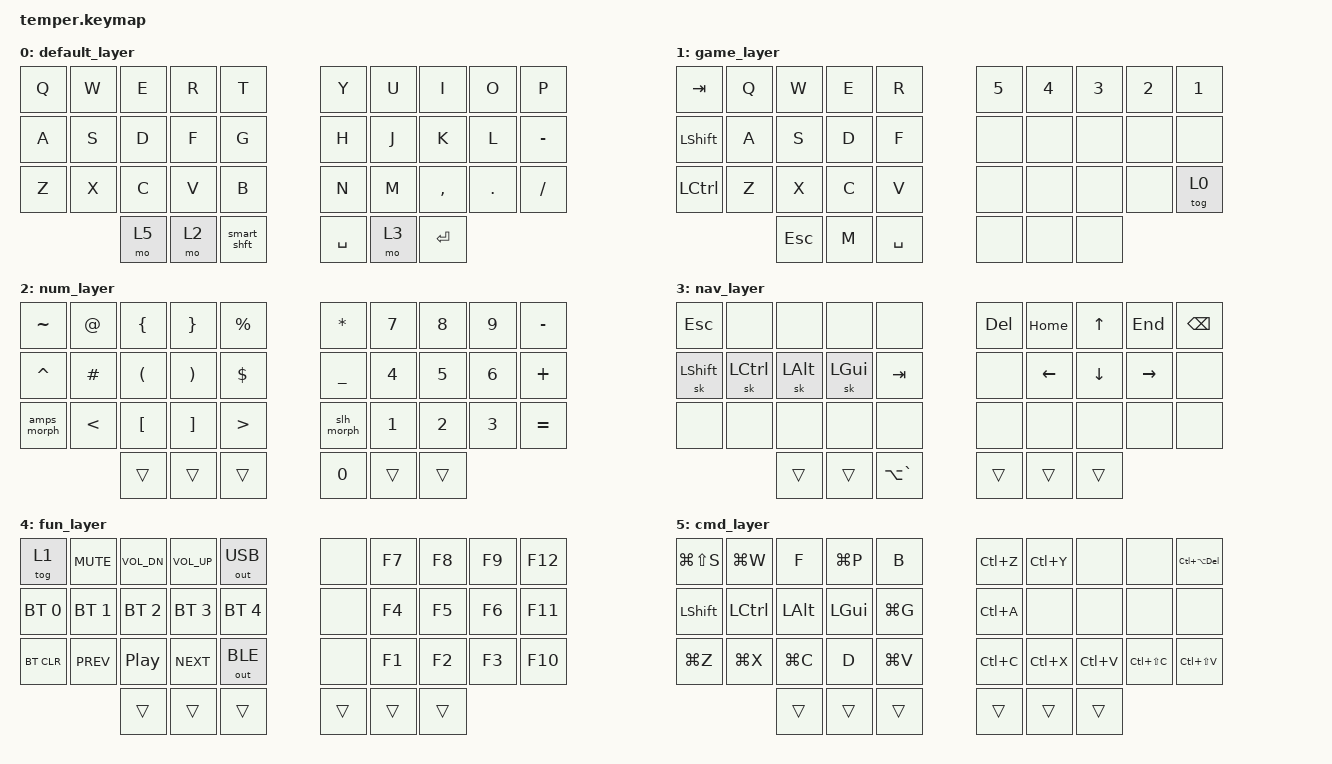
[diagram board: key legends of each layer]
/*
 * Copyright (c) 2020 The ZMK Contributors
 *
 * SPDX-License-Identifier: MIT
 */

#include <behaviors.dtsi>
#include <dt-bindings/zmk/bt.h>
#include <dt-bindings/zmk/keys.h>
#include <dt-bindings/zmk/outputs.h>

/ {
    conditional_layers {
        compatible = "zmk,conditional-layers";

        tri_layer {
            if-layers = <3 2>;
            then-layer = <4>;
        };
    };

    behaviors {
        bspc_del: backspace_delete {
            compatible = "zmk,behavior-mod-morph";
            #binding-cells = <0>;
            bindings = <&kp BACKSPACE>, <&kp DELETE>;

            mods = <(MOD_LSFT|MOD_RSFT)>;
            keep-mods = <(MOD_RSFT)>;
        };

        super_bspc: super_backspace {
            compatible = "zmk,behavior-mod-morph";
            #binding-cells = <0>;
            bindings = <&kp BACKSPACE>, <&kp LA(BACKSPACE)>;

            mods = <(MOD_LSFT|MOD_RSFT)>;
        };

        smart_shft: smart_shift {
            compatible = "zmk,behavior-mod-morph";
            #binding-cells = <0>;
            bindings = <&kp LSHFT>, <&caps_word>;

            mods = <(MOD_LSFT)>;
        };

        comma_semi: comma_semi {
            compatible = "zmk,behavior-mod-morph";
            #binding-cells = <0>;
            bindings = <&kp COMMA>, <&kp SEMI>;

            mods = <(MOD_LSFT)>;
        };

        dot_colon: dot_colon {
            compatible = "zmk,behavior-mod-morph";
            #binding-cells = <0>;
            bindings = <&kp DOT>, <&kp COLON>;

            mods = <(MOD_LSFT)>;
        };

        qmrk_excl: qmrk_excl {
            compatible = "zmk,behavior-mod-morph";
            #binding-cells = <0>;
            bindings = <&kp QMARK>, <&kp EXCL>;

            mods = <(MOD_LSFT)>;
        };

        slh_morph: slh_morph {
            compatible = "zmk,behavior-mod-morph";
            #binding-cells = <0>;
            bindings = <&kp FSLH>, <&kp BSLH>;

            mods = <(MOD_LSFT)>;
        };

        amps_morph: amps_morph {
            compatible = "zmk,behavior-mod-morph";
            #binding-cells = <0>;
            bindings = <&kp AMPS>, <&kp PIPE>;

            mods = <(MOD_LSFT)>;
        };
    };

    combos { compatible = "zmk,combos"; };

    keymap {
        compatible = "zmk,keymap";

        default_layer {
            bindings = <
&kp Q  &kp W  &kp E  &kp R  &kp T        &kp Y      &kp U  &kp I      &kp O       &kp P
&kp A  &kp S  &kp D  &kp F  &kp G        &kp H      &kp J  &kp K      &kp L       &kp MINUS
&kp Z  &kp X  &kp C  &kp V  &kp B        &kp N      &kp M  &kp COMMA  &kp PERIOD  &kp SLASH
              &mo 5  &mo 2  &smart_shft  &kp SPACE  &mo 3  &kp ENTER
            >;
        };

        game_layer {
            bindings = <
&kp TAB    &kp Q  &kp W    &kp E  &kp R      &kp N5  &kp NUMBER_4  &kp NUMBER_3  &kp NUMBER_2  &kp NUMBER_1
&kp LSHFT  &kp A  &kp S    &kp D  &kp F      &none   &none         &none         &none         &none
&kp LCTRL  &kp Z  &kp X    &kp C  &kp V      &none   &none         &none         &none         &tog 0
                  &kp ESC  &kp M  &kp SPACE  &none   &none         &none
            >;
        };

        num_layer {
            bindings = <
&kp TILDE    &kp AT    &kp LBRC  &kp RBRC  &kp PRCNT  &kp STAR    &kp N7  &kp N8  &kp N9  &kp MINUS
&kp CARET    &kp HASH  &kp LPAR  &kp RPAR  &kp DLLR   &kp UNDER   &kp N4  &kp N5  &kp N6  &kp PLUS
&amps_morph  &kp LT    &kp LBKT  &kp RBKT  &kp GT     &slh_morph  &kp N1  &kp N2  &kp N3  &kp EQUAL
                       &trans    &trans    &trans     &kp N0      &trans  &trans
            >;
        };

        nav_layer {
            bindings = <
&kp ESCAPE  &none      &none     &none     &none          &kp DELETE  &kp HOME        &kp UP_ARROW    &kp END          &kp BACKSPACE
&sk LSHFT   &sk LCTRL  &sk LALT  &sk LGUI  &kp TAB        &none       &kp LEFT_ARROW  &kp DOWN_ARROW  &kp RIGHT_ARROW  &none
&none       &none      &none     &none     &none          &none       &none           &none           &none            &none
                       &trans    &trans    &kp LA(GRAVE)  &trans      &trans          &trans
            >;
        };

        fun_layer {
            bindings = <
&tog 1        &kp K_MUTE    &kp C_VOL_DN  &kp C_VOL_UP  &out OUT_USB  &none   &kp F7  &kp F8  &kp F9  &kp F12
&bt BT_SEL 0  &bt BT_SEL 1  &bt BT_SEL 2  &bt BT_SEL 3  &bt BT_SEL 4  &none   &kp F4  &kp F5  &kp F6  &kp F11
&bt BT_CLR    &kp C_PREV    &kp C_PP      &kp C_NEXT    &out OUT_BLE  &none   &kp F1  &kp F2  &kp F3  &kp F10
                            &trans        &trans        &trans        &trans  &trans  &trans
            >;
        };

        cmd_layer {
            bindings = <
&kp LG(LS(S))  &kp LG(W)  &kp F      &kp LG(P)  &kp B      &kp LC(Z)  &kp LC(Y)  &none      &none          &kp LC(LA(DEL))
&kp LSHFT      &kp LCTRL  &kp LALT   &kp LGUI   &kp LG(G)  &kp LC(A)  &none      &none      &none          &none
&kp LG(Z)      &kp LG(X)  &kp LG(C)  &kp D      &kp LG(V)  &kp LC(C)  &kp LC(X)  &kp LC(V)  &kp LC(LS(C))  &kp LC(LS(V))
                          &trans     &trans     &trans     &trans     &trans     &trans
            >;
        };
    };
};
